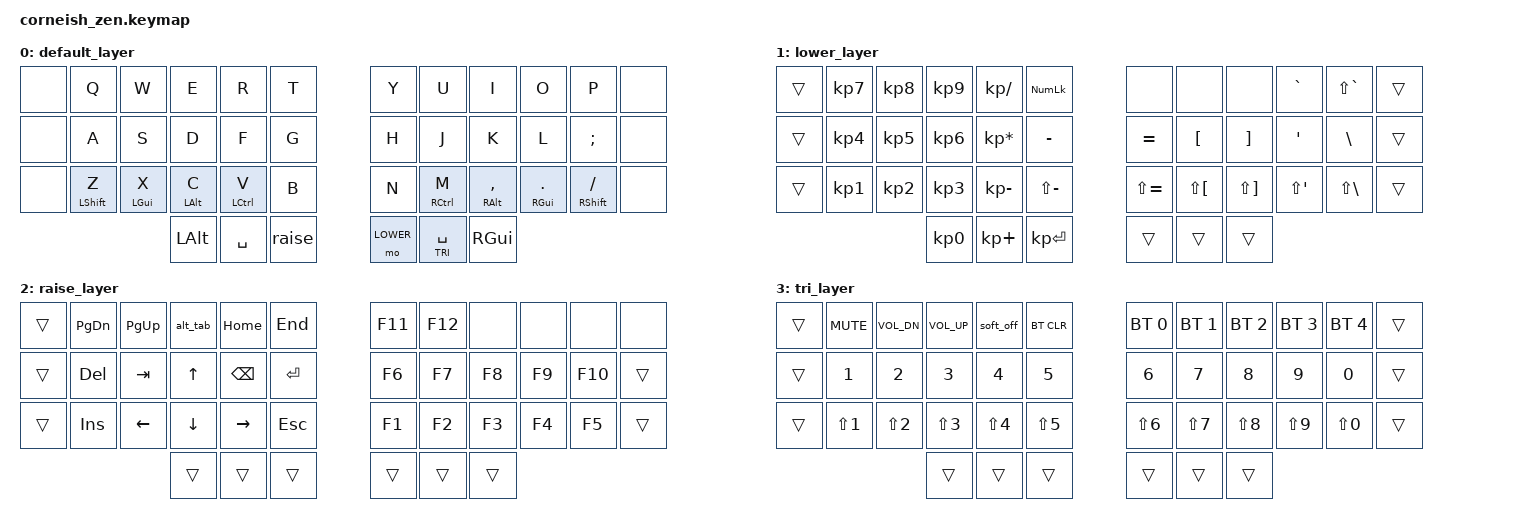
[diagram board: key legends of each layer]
/*
 * Copyright (c) 2020 The ZMK Contributors
 *
 * SPDX-License-Identifier: MIT
 */

#include <behaviors.dtsi>
#include <dt-bindings/zmk/bt.h>
#include <dt-bindings/zmk/keys.h>
#include <dt-bindings/zmk/outputs.h>

/ {
    chosen {
        zmk,matrix_transform = &default_transform;

        //zmk,matrix_transform = &five_column_transform;
    };
};

#define	DEFAULT	0
#define	LOWER   1
#define	RAISE   2
#define	TRI     3

/ {
    behaviors {
        lh_mt: left_hand_mod_tap {
            compatible = "zmk,behavior-hold-tap";
            label = "LH_MT";
            #binding-cells = <2>;
            bindings = <&kp>, <&kp>;
            tapping-term-ms = <200>;
            flavor = "balanced";
            hold-trigger-key-positions = <6 7 8 9 10 18 19 20 21 22 30 31 32 33 34>;
            hold-trigger-on-release;
            require-prior-idle-ms = <150>;
        };

        rh_mt: right_hand_mod_tap {
            compatible = "zmk,behavior-hold-tap";
            label = "RH_MT";
            #binding-cells = <2>;
            bindings = <&kp>, <&kp>;
            tapping-term-ms = <200>;
            flavor = "balanced";
            hold-trigger-key-positions = <1 2 3 4 5 13 14 15 16 17 25 26 27 28 29>;
            hold-trigger-on-release;
            require-prior-idle-ms = <150>;
        };
    };
};

/ {
    macros {
        raise: raise {
            label = "RAISE";
            compatible = "zmk,behavior-macro";
            #binding-cells = <0>;
            bindings =
                <&macro_press>,
                <&mo RAISE>,
                <&macro_pause_for_release>,
                <&macro_release>,
                <&mo RAISE>,
                <&macro_release>,
                <&kp LALT>,
                <&macro_release>,
                <&kp LALT>,
                <&macro_release>,
                <&kp LALT>,
                <&macro_release>,
                <&kp LALT>,
                <&macro_release>,
                <&kp LALT>,
                <&macro_release>,
                <&kp LALT>,
                <&macro_release>,
                <&kp LALT>,
                <&macro_release>,
                <&kp LALT>,
                <&macro_release>,
                <&kp LALT>,
                <&macro_release>,
                <&kp LALT>,
                <&macro_release>,
                <&kp LALT>,
                <&macro_release>,
                <&kp LALT>,
                <&macro_release>,
                <&kp LALT>,
                <&macro_release>,
                <&kp LALT>,
                <&macro_release>,
                <&kp LALT>,
                <&macro_release>,
                <&kp LALT>,
                <&macro_release>,
                <&kp LALT>,
                <&macro_release>,
                <&kp LALT>,
                <&macro_release>,
                <&kp LALT>,
                <&macro_release>,
                <&kp LALT>,
                <&macro_release>,
                <&kp LALT>,
                <&macro_release>,
                <&kp LALT>,
                <&macro_release>,
                <&kp LALT>,
                <&macro_release>,
                <&kp LALT>,
                <&macro_release>,
                <&kp LALT>,
                <&macro_release>,
                <&kp LALT>,
                <&macro_release>,
                <&kp LALT>,
                <&macro_release>,
                <&kp LALT>,
                <&macro_release>,
                <&kp LALT>,
                <&macro_release>,
                <&kp LALT>,
                <&macro_release>,
                <&kp LALT>,
                <&macro_release>,
                <&kp LALT>,
                <&macro_release>,
                <&kp LALT>,
                <&macro_release>,
                <&kp LALT>,
                <&macro_release>,
                <&kp LALT>,
                <&macro_release>,
                <&kp LALT>,
                <&macro_release>,
                <&kp LALT>,
                <&macro_release>,
                <&kp LALT>,
                <&macro_release>,
                <&kp LALT>,
                <&macro_release>,
                <&kp LALT>,
                <&macro_release>,
                <&kp LALT>,
                <&macro_release>,
                <&kp LALT>,
                <&macro_release>,
                <&kp LALT>,
                <&macro_release>,
                <&kp LALT>,
                <&macro_release>,
                <&kp LALT>,
                <&macro_release>,
                <&kp LALT>,
                <&macro_release>,
                <&kp LALT>,
                <&macro_release>,
                <&kp LALT>,
                <&macro_release>,
                <&kp LALT>,
                <&macro_release>,
                <&kp LALT>,
                <&macro_release>,
                <&kp LALT>,
                <&macro_release>,
                <&kp LALT>,
                <&macro_release>,
                <&kp LALT>,
                <&macro_release>,
                <&kp LALT>,
                <&macro_release>,
                <&kp LALT>;
        };

        alt_tab: alt_tab {
            label = "Alt Tab";
            compatible = "zmk,behavior-macro";
            #binding-cells = <0>;
            bindings = <&macro_press>, <&kp LALT>, <&macro_tap>, <&kp TAB>;
        };
    };
};

/ {
    keymap {
        compatible = "zmk,keymap";

        default_layer {
            bindings = <
&none  &kp Q           &kp W         &kp E         &kp R          &kp T     &kp Y      &kp U          &kp I             &kp O           &kp P              &none
&none  &kp A           &kp S         &kp D         &kp F          &kp G     &kp H      &kp J          &kp K             &kp L           &kp SEMI           &none
&none  &lh_mt LSHFT Z  &lh_mt LGUI X &lh_mt LALT C &lh_mt LCTRL V &kp B     &kp N      &rh_mt RCTRL M &rh_mt RALT COMMA &rh_mt RGUI DOT &rh_mt RSHFT FSLH  &none
                                     &kp LALT      &kp SPACE      &raise    &mo LOWER  &lt TRI SPACE  &kp RGUI
            >;
        };

        lower_layer {
            bindings = <
&trans  &kp KP_N7  &kp KP_N8  &kp KP_N9  &kp KP_DIVIDE    &kp KP_NLCK    &none          &none         &none         &kp GRAVE        &kp LS(GRAVE)      &trans
&trans  &kp KP_N4  &kp KP_N5  &kp KP_N6  &kp KP_MULTIPLY  &kp MINUS      &kp EQUAL      &kp LBKT      &kp RBKT      &kp APOS         &kp BACKSLASH      &trans
&trans  &kp KP_N1  &kp KP_N2  &kp KP_N3  &kp KP_MINUS     &kp LS(MINUS)  &kp LS(EQUAL)  &kp LS(LBKT)  &kp LS(RBKT)  &kp LS(APOS)     &kp LS(BACKSLASH)  &trans
                              &kp KP_N0  &kp KP_PLUS      &kp KP_ENTER   &trans         &trans        &trans
            >;
        };

        raise_layer {
            bindings = <
&trans  &kp PG_DN  &kp PG_UP  &alt_tab  &kp HOME   &kp END    &kp F11   &kp F12  &none    &none   &none    &none
&trans  &kp DEL    &kp TAB    &kp UP    &kp BSPC   &kp RET    &kp F6    &kp F7   &kp F8   &kp F9  &kp F10  &trans
&trans  &kp INS    &kp LEFT   &kp DOWN  &kp RIGHT  &kp ESC    &kp F1    &kp F2   &kp F3   &kp F4  &kp F5   &trans
                              &trans    &trans     &trans     &trans    &trans   &trans
            >;
        };

        tri_layer {
            bindings = <
&trans  &kp C_MUTE  &kp C_VOL_DN  &kp C_VOL_UP	&soft_off   &bt BT_CLR    &bt BT_SEL 0  &bt BT_SEL 1  &bt BT_SEL 2  &bt BT_SEL 3  &bt BT_SEL 4  &trans
&trans  &kp N1      &kp N2        &kp N3        &kp N4      &kp N5        &kp N6        &kp N7        &kp N8        &kp N9        &kp N0        &trans
&trans  &kp LS(N1)  &kp LS(N2)    &kp LS(N3)    &kp LS(N4)  &kp LS(N5)    &kp LS(N6)    &kp LS(N7)    &kp LS(N8)    &kp LS(N9)    &kp LS(N0)    &trans
                                  &trans        &trans      &trans        &trans        &trans        &trans
            >;
        };
    };
};
